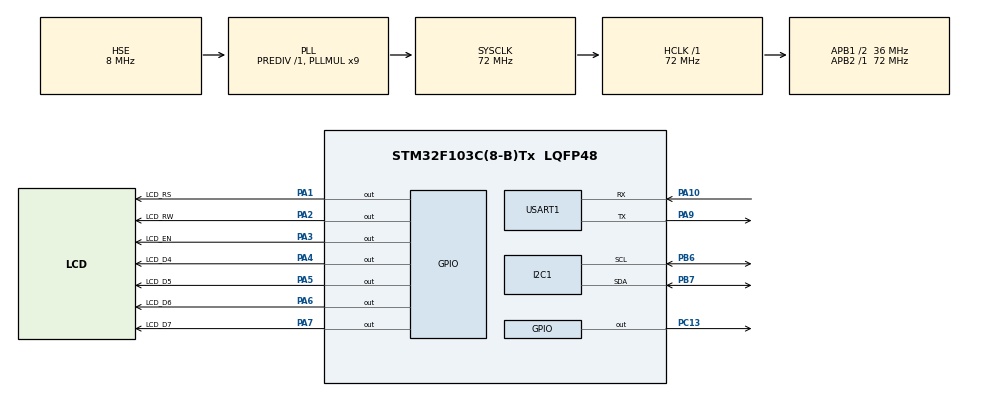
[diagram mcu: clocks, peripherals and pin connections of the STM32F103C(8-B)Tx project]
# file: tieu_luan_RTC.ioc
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I2C1.I2C_Mode=I2C_Standard
Mcu.Family=STM32F1
Mcu.Name=STM32F103C(8-B)Tx
Mcu.Package=LQFP48
NVIC.PriorityGroup=NVIC_PRIORITYGROUP_4
NVIC.USART1_IRQn=true\:0\:0\:false\:false\:true\:true\:true\:true
PA1.GPIO_Label=LCD_RS
PA1.Signal=GPIO_Output
PA10.Mode=Asynchronous
PA10.Signal=USART1_RX
PA13.Mode=Serial_Wire
PA13.Signal=SYS_JTMS-SWDIO
PA14.Mode=Serial_Wire
PA14.Signal=SYS_JTCK-SWCLK
PA2.GPIO_Label=LCD_RW
PA2.Signal=GPIO_Output
PA3.GPIO_Label=LCD_EN
PA3.Signal=GPIO_Output
PA4.GPIO_Label=LCD_D4
PA4.Signal=GPIO_Output
PA5.GPIO_Label=LCD_D5
PA5.Signal=GPIO_Output
PA6.GPIO_Label=LCD_D6
PA6.Signal=GPIO_Output
PA7.GPIO_Label=LCD_D7
PA7.Signal=GPIO_Output
PA9.Mode=Asynchronous
PA9.Signal=USART1_TX
PB6.Mode=I2C
PB6.Signal=I2C1_SCL
PB7.Mode=I2C
PB7.Signal=I2C1_SDA
PC13-TAMPER-RTC.Signal=GPIO_Output
PD0-OSC_IN.Mode=HSE-External-Oscillator
PD0-OSC_IN.Signal=RCC_OSC_IN
PD1-OSC_OUT.Mode=HSE-External-Oscillator
PD1-OSC_OUT.Signal=RCC_OSC_OUT
ProjectManager.HeapSize=0x200
ProjectManager.StackSize=0x400
ProjectManager.TargetToolchain=MDK-ARM V5.32
RCC.AHBFreq_Value=72000000
RCC.APB1CLKDivider=RCC_HCLK_DIV2
RCC.APB1Freq_Value=36000000
RCC.APB1TimFreq_Value=72000000
RCC.APB2Freq_Value=72000000
RCC.APB2TimFreq_Value=72000000
RCC.HCLKFreq_Value=72000000
RCC.PLLMUL=RCC_PLL_MUL9
RCC.PLLSourceVirtual=RCC_PLLSOURCE_HSE
RCC.SYSCLKFreq_VALUE=72000000
RCC.SYSCLKSource=RCC_SYSCLKSOURCE_PLLCLK
RCC.USBFreq_Value=72000000
USART1.VirtualMode=VM_ASYNC
board=custom

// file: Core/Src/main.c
/* USER CODE BEGIN Header */
/**
  ******************************************************************************
  * @file           : main.c
  * @brief          : Main program body
  ******************************************************************************
  * @attention
  *
  * Copyright (c) 2023 STMicroelectronics.
  * All rights reserved.
  *
  * This software is licensed under terms that can be found in the LICENSE file
  * in the root directory of this software component.
  * If no LICENSE file comes with this software, it is provided AS-IS.
  *
  ******************************************************************************
  */
/* USER CODE END Header */
#include "main.h"
#include "i2c.h"
#include "usart.h"
#include "gpio.h"

/* USER CODE BEGIN Includes */
#include "lcd_16x2.h"
#include "string.h"
#include "stdio.h"
/* USER CODE END Includes */

/* USER CODE BEGIN PTD */
extern I2C_HandleTypeDef hi2c1;
/* USER CODE END PTD */

/* USER CODE BEGIN PD */
char dateTimeBuffer[50];
#define DS1307_I2C_ADDRESS 0xD0

/* USER CODE END PD */

void SystemClock_Config(void);

/* USER CODE BEGIN 0 */
//uint8_t dectobcd(int val){

//   return(uint8_t)(val/10*16)+(val%10);
//}
//int bcd_to_decimal(uint8_t val){
//   return (int)(val/16*10)+(val%10);
//
//}
//typedef struct{
//uint8_t hours ;
//uint8_t minutes ;
//uint8_t seccond ;
//uint8_t date ;
//uint8_t month ;
//uint8_t year;
//} TIME;
//TIME time ;

//void Set_time(uint8_t sec ,uint8_t min, uint8_t hour,uint8_t dow, uint8_t dom,uint8_t mouth,uint8_t year)
//{
//  uint8_t set_time[7];
//	set_time[0] = dectobcd(sec);
//	set_time[1] = dectobcd(min);
//	set_time[2] = dectobcd(hour);
//	set_time[3] = dectobcd(dow);
//	set_time[4] = dectobcd(dom);
//	set_time[5] = dectobcd(mouth);
//  set_time[6] = dectobcd(year);
//
//HAL_I2C_Mem_Write(&hi2c1,0x68<<1,0x00,1,set_time,7,1000);
//}
//void Get_Time(void){

//   uint8_t get_time[7];
//	HAL_I2C_Mem_Read(&hi2c1,0x68<<1,0x00,1,get_time,7,1000);
//  time.seccond = bcd_to_decimal(get_time[0]);
//	time.minutes = bcd_to_decimal(get_time[1]);
//	time.hours = bcd_to_decimal(get_time[2]);
//	time.month =bcd_to_decimal(get_time[5]);
//	time.year = bcd_to_decimal(get_time[6]);
//}
//char buffer[10];
uint8_t bcdToDec(uint8_t value)
{
  return ((value / 16 * 10) + (value % 16));
}
uint8_t decToBcd(uint8_t val)
{
  return ((val / 10 * 16) + (val % 10));
}
void readTime(uint8_t *hour, uint8_t *minute, uint8_t *second)
{
  uint8_t buffer[3];

  HAL_I2C_Mem_Read(&hi2c1, DS1307_I2C_ADDRESS, 0x00, I2C_MEMADD_SIZE_8BIT, buffer, 3, HAL_MAX_DELAY);

  *second = bcdToDec(buffer[0] & 0x7F);
  *minute = bcdToDec(buffer[1]);
  *hour = bcdToDec(buffer[2] & 0x3F);
}

void SetTime(uint8_t hour, uint8_t minute, uint8_t second)
{
  uint8_t timeData[3];

  timeData[0] = decToBcd(second);
  timeData[1] = decToBcd(minute);
  timeData[2] = decToBcd(hour);

  HAL_I2C_Mem_Write(&hi2c1, DS1307_I2C_ADDRESS, 0x00, I2C_MEMADD_SIZE_8BIT, timeData, 3, HAL_MAX_DELAY);
}
void readDate(uint8_t *day, uint8_t *month, uint8_t *year)
{
  uint8_t buffer[3];

 	 HAL_I2C_Mem_Read(&hi2c1, DS1307_I2C_ADDRESS, 0x04, I2C_MEMADD_SIZE_8BIT, buffer, 3, HAL_MAX_DELAY);
  *day = bcdToDec(buffer[0]);
  *month = bcdToDec(buffer[1]);
  *year = bcdToDec(buffer[2]);

}
void SetDate(uint8_t day, uint8_t month, uint8_t year)
{
  uint8_t dateData[3];

  dateData[0] = decToBcd(day);
  dateData[1] = decToBcd(month);
  dateData[2] = decToBcd(year);

  HAL_I2C_Mem_Write(&hi2c1, DS1307_I2C_ADDRESS, 0x04, I2C_MEMADD_SIZE_8BIT, dateData, 3, HAL_MAX_DELAY);
}
void displayTime(uint8_t hour, uint8_t minute, uint8_t second)
{
  char timeString[13];

  sprintf(timeString, "Time:%02d:%02d:%02d", hour, minute, second);

  Lcd_gotoxy(1,1);
 Lcd_write_string(timeString);

}
void displayDate(uint8_t day, uint8_t month, uint8_t year)
{
  char dateString[13];

  sprintf(dateString, "Date:%02d/%02d/%02d", day, month, year);

  Lcd_gotoxy(0, 0);
  Lcd_write_string(dateString);
}
/* USER CODE END 0 */

int main(void)
{

  /* MCU Configuration--------------------------------------------------------*/

  /* Reset of all peripherals, Initializes the Flash interface and the Systick. */
  HAL_Init();

  /* Configure the system clock */
  SystemClock_Config();

  /* Initialize all configured peripherals */
  MX_GPIO_Init();
  MX_I2C1_Init();
  MX_USART1_UART_Init();
  /* USER CODE BEGIN 2 */

 Lcd_Init();
 HAL_I2C_Init(&hi2c1);
  SetTime(22,37,10);
	SetDate(11,3,23);
// Set_time(0x23,0x59,0x50,5,3,1,20);
//  HAL_I2C_Mem_Write(&hi2c1,0x68<<1,0x00,1,&seccond,1,50);
//	HAL_I2C_Mem_Write(&hi2c1,0x68<<1,0x01,1,&minutes,1,50);
//  HAL_I2C_Mem_Write(&hi2c1,0x68<<1,0x02,1,&hours,1,50);
//
//		HAL_I2C_Mem_Write(&hi2c1,0x68<<1,0x04,1,&date,1,50);
//		HAL_I2C_Mem_Write(&hi2c1,0x68<<1,0x05,1,&month,1,50);
//		HAL_I2C_Mem_Write(&hi2c1,0x68<<1,0x06,1,&year,1,50);

//
//		sprintf((char*)time, "Time:%02d:%02d:%02d\r\n",seccond,minutes,hours);
//    Lcd_write_string((char*)time);
  /* USER CODE END 2 */

  /* Infinite loop */
  /* USER CODE BEGIN WHILE */
  while (1)
  {

//    HAL_I2C_Mem_Read(&hi2c1,0x68<<1,0x00,1,&seccond,1,1000);
//	  HAL_I2C_Mem_Read(&hi2c1,0x68<<1,0x01,1,&minutes,1,50);
//    HAL_I2C_Mem_Read(&hi2c1,0x68<<1,0x02,1,&hours,1,50);
//
//		HAL_I2C_Mem_Read(&hi2c1,0x68<<1,0x04,1,&date,1,50);
//		HAL_I2C_Mem_Read(&hi2c1,0x68<<1,0x05,1,&month,1,50);
//		HAL_I2C_Mem_Read(&hi2c1,0x68<<1,0x06,1,&year,1,50);

//		Lcd_gotoxy(0,0);
//		sprintf((char*)time, "Time:%02d:%02d:%02d\r\n",hours,minutes,seccond);
//    Lcd_write_string((char*)time);
//		Get_Time();
//
//		sprintf(buffer,"%02d:%02d:%02d",time.hours,time.minutes,time.seccond);
//		Lcd_gotoxy(0,0);
//		Lcd_write_string(buffer);
//		HAL_Delay(500);
		uint8_t hour, minute, second;

    readTime(&hour, &minute, &second);

    displayTime(hour, minute, second);

		uint8_t day, month, year;

   readDate(&day, &month, &year);

   displayDate(day, month, year);
  sprintf(dateTimeBuffer, "Date:%02d/%02d/%02d\n Time:%02d:%02d:%02d", day, month, year, hour, minute, second);

HAL_UART_Transmit(&huart1, (uint8_t*)dateTimeBuffer, strlen(dateTimeBuffer), HAL_MAX_DELAY);
    HAL_Delay(1000);
    /* USER CODE END WHILE */

  }
}

void SystemClock_Config(void)
{
  RCC_OscInitTypeDef RCC_OscInitStruct = {0};
  RCC_ClkInitTypeDef RCC_ClkInitStruct = {0};

  /** Initializes the RCC Oscillators according to the specified parameters
  * in the RCC_OscInitTypeDef structure.
  */
  RCC_OscInitStruct.OscillatorType = RCC_OSCILLATORTYPE_HSE;
  RCC_OscInitStruct.HSEState = RCC_HSE_ON;
  RCC_OscInitStruct.HSEPredivValue = RCC_HSE_PREDIV_DIV1;
  RCC_OscInitStruct.HSIState = RCC_HSI_ON;
  RCC_OscInitStruct.PLL.PLLState = RCC_PLL_ON;
  RCC_OscInitStruct.PLL.PLLSource = RCC_PLLSOURCE_HSE;
  RCC_OscInitStruct.PLL.PLLMUL = RCC_PLL_MUL9;
  if (HAL_RCC_OscConfig(&RCC_OscInitStruct) != HAL_OK)
  {
    Error_Handler();
  }

  /** Initializes the CPU, AHB and APB buses clocks
  */
  RCC_ClkInitStruct.ClockType = RCC_CLOCKTYPE_HCLK|RCC_CLOCKTYPE_SYSCLK
                              |RCC_CLOCKTYPE_PCLK1|RCC_CLOCKTYPE_PCLK2;
  RCC_ClkInitStruct.SYSCLKSource = RCC_SYSCLKSOURCE_PLLCLK;
  RCC_ClkInitStruct.AHBCLKDivider = RCC_SYSCLK_DIV1;
  RCC_ClkInitStruct.APB1CLKDivider = RCC_HCLK_DIV2;
  RCC_ClkInitStruct.APB2CLKDivider = RCC_HCLK_DIV1;

  if (HAL_RCC_ClockConfig(&RCC_ClkInitStruct, FLASH_LATENCY_2) != HAL_OK)
  {
    Error_Handler();
  }
}

void Error_Handler(void)
{
  __disable_irq();
  while (1)
  {
  }
}
